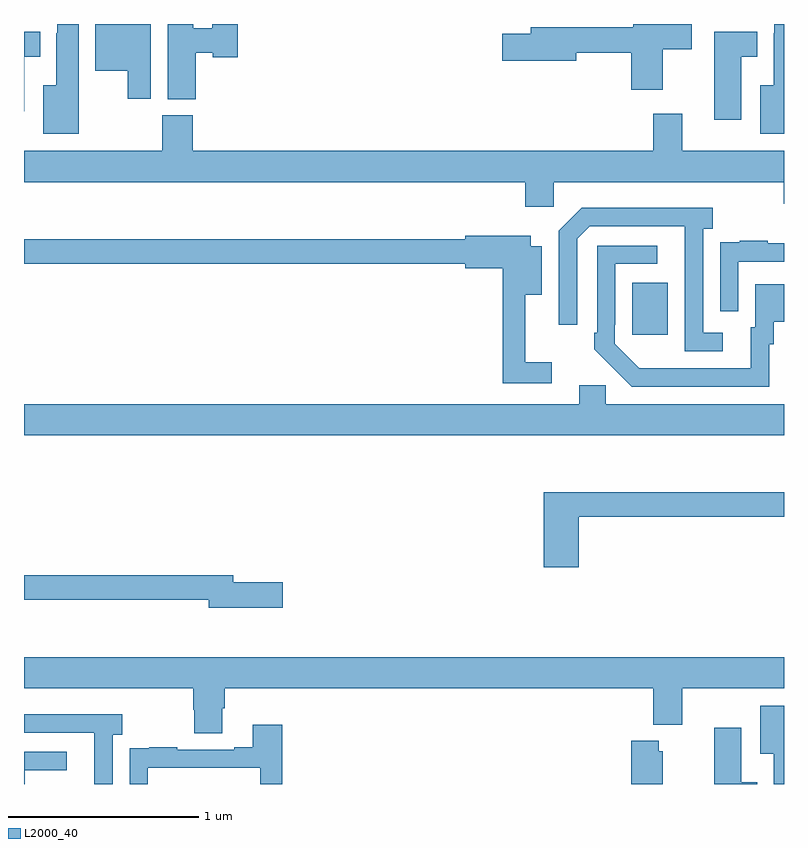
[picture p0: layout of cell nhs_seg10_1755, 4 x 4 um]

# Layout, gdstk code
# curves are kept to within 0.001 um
import gdstk
lib = gdstk.Library(unit=1e-6, precision=1e-09)
def R(c, l, rs):  # rectangles x0, y0, x1, y1
    for r in rs: c.add(gdstk.rectangle(r[:2], r[2:], *l))
def P(c, l, *ps):  # polygons
    for p in ps: c.add(gdstk.Polygon(p, *l))
L2000_40 = (2000, 40)

nhs_seg10_1755 = lib.new_cell('nhs_seg10_1755')
R(nhs_seg10_1755, L2000_40, [(206.201,1280.865,206.389,1281.139)])
P(nhs_seg10_1755, L2000_40, [(203.903,1282.348),(203.994,1282.348),(203.994,1282.325),(204.125,1282.325),(204.125,1282.5),(203.99,1282.5),(203.99,1282.477),(203.89,1282.477),(203.89,1282.5),(203.756,1282.5),(203.756,1282.105),(203.903,1282.105)],
  [(203.668,1282.5),(203.375,1282.5),(203.375,1282.253),(203.546,1282.253),(203.546,1282.107),(203.668,1282.107)],
  [(206.362,1282.366),(206.515,1282.366),(206.515,1282.5),(206.207,1282.5),(206.207,1282.484),(205.667,1282.484),(205.667,1282.448),(205.518,1282.448),(205.518,1282.306),(205.906,1282.306),(205.906,1282.348),(206.195,1282.348),(206.195,1282.155),(206.362,1282.155)],
  [(207,1282.5),(206.949,1282.5),(206.949,1282.451),(206.945,1282.451),(206.945,1282.177),(206.876,1282.177),(206.876,1281.923),(207,1281.923)],
  [(203.287,1282.5),(203.175,1282.5),(203.175,1282.451),(203.171,1282.451),(203.171,1282.177),(203.102,1282.177),(203.102,1281.923),(203.287,1281.923)],
  [(203.002,1282.328),(203.086,1282.328),(203.086,1282.459),(203,1282.459),(203,1282.041),(203.002,1282.041)],
  [(206.776,1282.328),(206.86,1282.328),(206.86,1282.459),(206.633,1282.459),(206.633,1281.996),(206.776,1281.996)],
  [(205.788,1281.668),(206.999,1281.668),(206.999,1281.555),(207,1281.555),(207,1281.832),(206.464,1281.832),(206.464,1282.027),(206.312,1282.027),(206.312,1281.832),(203.888,1281.832),(203.888,1282.02),(203.728,1282.02),(203.728,1281.832),(203,1281.832),(203,1281.668),(205.637,1281.668),(205.637,1281.537),(205.788,1281.537)],
  [(206.677,1280.874),(206.574,1280.874),(206.574,1281.422),(206.626,1281.422),(206.626,1281.532),(205.936,1281.532),(205.815,1281.411),(205.815,1280.916),(205.911,1280.916),(205.911,1281.369),(205.977,1281.435),(206.477,1281.435),(206.478,1280.778),(206.677,1280.778)],
  [(205.777,1280.719),(205.637,1280.719),(205.637,1281.074),(205.726,1281.074),(205.726,1281.331),(205.666,1281.331),(205.666,1281.385),(205.322,1281.385),(205.322,1281.367),(203,1281.367),(203,1281.238),(205.322,1281.238),(205.322,1281.215),(205.519,1281.215),(205.519,1280.61),(205.777,1280.61)],
  [(206.76,1281.249),(207,1281.249),(207,1281.345),(206.915,1281.345),(206.915,1281.358),(206.767,1281.358),(206.767,1281.351),(206.665,1281.351),(206.665,1281.242),(206.664,1281.242),(206.664,1280.988),(206.76,1280.988)],
  [(206.922,1280.814),(206.947,1280.814),(206.947,1280.933),(207,1280.933),(207,1281.13),(206.849,1281.13),(206.849,1280.904),(206.825,1280.904),(206.825,1280.688),(206.238,1280.689),(206.109,1280.817),(206.109,1280.917),(206.112,1280.917),(206.112,1281.237),(206.332,1281.237),(206.332,1281.333),(206.016,1281.333),(206.016,1280.875),(206.001,1280.875),(206.001,1280.787),(206.198,1280.592),(206.922,1280.592)],
  [(207,1280.5),(206.061,1280.5),(206.061,1280.598),(205.922,1280.598),(205.922,1280.5),(203,1280.5),(203,1280.336),(207,1280.336)],
  [(205.919,1279.906),(207,1279.906),(207,1280.035),(205.736,1280.035),(205.736,1279.641),(205.919,1279.641)],
  [(204.361,1279.562),(204.1,1279.562),(204.1,1279.598),(203,1279.598),(203,1279.47),(203.972,1279.47),(203.972,1279.427),(204.361,1279.427)],
  [(204.043,1278.898),(204.056,1278.898),(204.056,1279.004),(206.312,1279.004),(206.312,1278.812),(206.464,1278.812),(206.464,1279.004),(207,1279.004),(207,1279.168),(203,1279.168),(203,1279.004),(203.891,1279.004),(203.891,1278.891),(203.896,1278.891),(203.896,1278.766),(204.043,1278.766)],
  [(207,1278.913),(206.876,1278.913),(206.876,1278.659),(206.945,1278.659),(206.945,1278.5),(207,1278.5)],
  [(203.466,1278.758),(203.518,1278.758),(203.518,1278.868),(203,1278.868),(203,1278.771),(203.369,1278.771),(203.369,1278.571),(203.37,1278.571),(203.37,1278.5),(203.466,1278.5)],
  [(203.652,1278.585),(204.243,1278.585),(204.243,1278.5),(204.359,1278.5),(204.359,1278.811),(204.203,1278.811),(204.203,1278.694),(204.107,1278.694),(204.107,1278.681),(203.807,1278.681),(203.807,1278.694),(203.659,1278.694),(203.659,1278.687),(203.557,1278.687),(203.557,1278.578),(203.556,1278.578),(203.556,1278.5),(203.652,1278.5)],
  [(206.86,1278.508),(206.776,1278.508),(206.776,1278.796),(206.633,1278.796),(206.633,1278.5),(206.86,1278.5)],
  [(206.362,1278.673),(206.34,1278.673),(206.34,1278.727),(206.195,1278.727),(206.195,1278.5),(206.362,1278.5)],
  [(203.004,1278.573),(203.224,1278.573),(203.224,1278.669),(203,1278.669),(203,1278.5),(203.004,1278.5)])

lib.write_gds('nhs_seg10_1755.gds')
